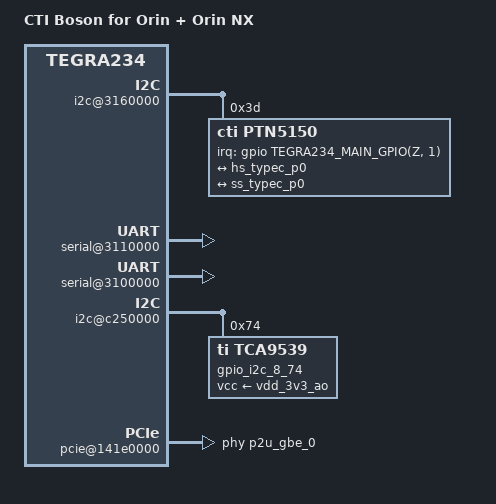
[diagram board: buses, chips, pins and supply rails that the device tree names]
/*
 * Copyright (c) 2024, Connect Tech Inc.  All rights reserved.
 *
 * This program is free software; you can redistribute it and/or modify it
 * under the terms and conditions of the GNU General Public License,
 * version 2, as published by the Free Software Foundation.
 *
 * This program is distributed in the hope it will be useful, but WITHOUT
 * ANY WARRANTY; without even the implied warranty of MERCHANTABILITY or
 * FITNESS FOR A PARTICULAR PURPOSE.  See the GNU General Public License for
 * more details.
 *
 * You should have received a copy of the GNU General Public License
 * along with this program.  If not, see <http://www.gnu.org/licenses/>.
 */

#include "tegra234-orin-nx-cti-base.dtsi"

/{
    nvidia,dtsfilename = "tegra234-orin-nx-cti-NGX020.dts";

    model = "CTI Boson for Orin  + Orin NX";

bus@0{   
    //PTN5150
    i2c@3160000{
        ptn5150@3d{
            reg = <0x3d>;
            compatible = "cti,ptn5150";
            status = "okay";
            interrupt-parent = <&gpio>;
            interrupts = <TEGRA234_MAIN_GPIO(Z, 1) IRQ_TYPE_LEVEL_LOW>;
            #address-cells = <1>;
            #size-cells = <0>;
            
            connector@0 {
                compatible = "usb-c-connector";
                label = "USB-C";
                data-role = "dual";

                //Supported Advertised Current Modes: "default" (900mA), "1.5A", "3.0A"
                power-opmode = "1.5A";
            
                        //HighSpeed
                       port@0 {
                           reg = <0>;
                           ptn5150_hs_ep_p0: endpoint {
                               remote-endpoint = <&hs_typec_p0>;
                           };
                       };
                       //SuperSpeed
                       port@1 {
                           reg = <1>;
                           ptn5150_ss_ep_p0: endpoint {
                               remote-endpoint = <&ss_typec_p0>;
                           };
                       };
                
                        
                };

        };
    };
padctl@3520000 {
        ports {
            usb2-0 {
                    
                    /delete-node/ connector;
                    port{
                        hs_typec_p0: endpoint {
                            remote-endpoint = <&ptn5150_hs_ep_p0>;
                        };
                        
                    };
            };
            usb3-0 {
                    port {
                        ss_typec_p0: endpoint {
                            remote-endpoint = <&ptn5150_ss_ep_p0>;
                        };
                    };                
            };
        };
};
    // UART 0 /dev/ttyTHS1
    serial@3110000 {
        status = "okay";
    };
    // UART 1 /dev/ttyTHS0
    serial@3100000 {/* UARTA, for 40 pin header */
        status = "okay";
    };
    i2c@c250000{
          gpio_i2c_8_74: gpio@74 {
                    status = "okay";
                    compatible = "ti,tca9539";
                    reg = <0x74>;
                    gpio-controller;
                    #gpio-cells = <2>;
                    #address-cells = <1>;
                    #size-cells = <0>;
                    vcc-supply = <&vdd_3v3_ao>;
                    gpio-line-names = "gpio-3.3v-0", "gpio-3.3v-1", "gpio-3.3v-2",
                    "gpio-3.3v-3", "gpio-3.3v-4", "gpio-3.3v-5";
    	   }; 
    };
//PCIE2 =  PEX7
    pcie@141e0000 {
        
        /*
         * C7 - M2 Key M, default config, other config possible as
         * below:
         * C7 x2 - default
         * C7 x1 or C9 x1
         */
        status = "okay";
        phys = <&p2u_gbe_0>;
        phy-names = "p2u-0";
    };
};
};

